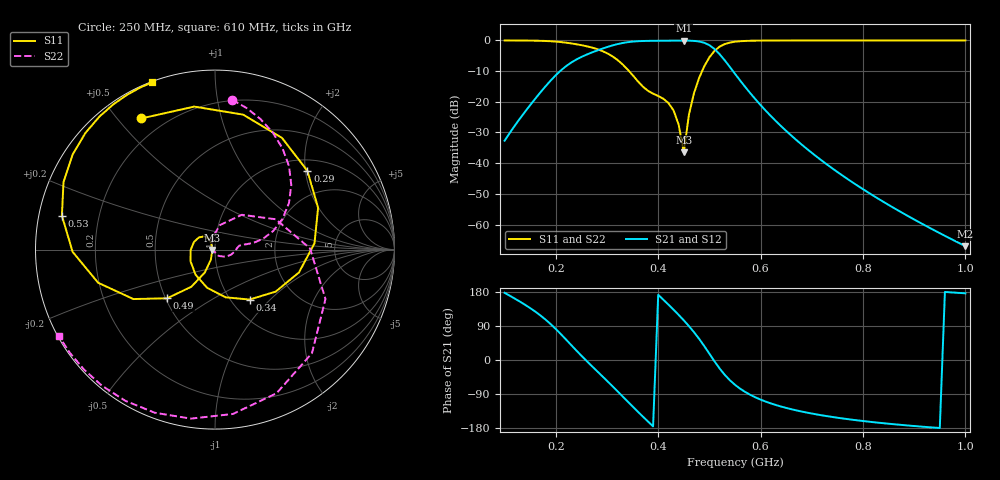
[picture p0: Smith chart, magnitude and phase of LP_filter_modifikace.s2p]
! AWR Design Environment (18666) Thu Aug 13 12:31:06 2026
! Document = 'LP filter modifikace'
! nPorts: 2, nXvals: 91
# MHz S DB R 50
!Freq DBS11 AngS11 DBS21 AngS21 DBS12 AngS12 DBS22 AngS22
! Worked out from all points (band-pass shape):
!   91 points, 100 MHz to 1 GHz, reference 50 ohm
!   highest |S21| = -0.05 dB at 450 MHz (marker M1); lowest = -67.1 dB at 1 GHz (marker M2)
!   |S21| within 3 dB of the highest: 284.4 MHz to 511.5 MHz (227.1 MHz wide, 57.1 % of centre)
!   lowest |S11| = -36.5 dB at 450 MHz (marker M3), VSWR 1.03, Z = 48.5 - j0.252 ohm
!   |S11| at or under -10 dB: 343.1 MHz to 485.8 MHz (142.7 MHz wide, 34.4 % of centre)
!   |S22| runs from -37.9 to 0.0 dB; largest |S21 - S12| = 0
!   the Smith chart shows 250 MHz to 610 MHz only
!   S11 on the Smith chart (normalised r, x): 250 MHz: 0.12, +0.58; 290 MHz: 1.27, +2.05; 340 MHz: 1.21, -0.76; 490 MHz: 0.51, -0.32; 530 MHz: 0.07, +0.11; 610 MHz: 0.00, +0.69
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100  -0.01 24.7  -32.69 177.3  -32.69 177.3  -0.00 150.1
140  -0.04 -24.8  -23.22 145.7  -23.22 145.7  -0.02 136.4
180  -0.17 -86.7  -14.94 106.5  -14.94 106.5  -0.14 120.0
200  -0.37 -126.8  -11.32 81.8  -11.32 81.8  -0.34 110.5
220  -0.72 -172.2  -8.38 53.9  -8.38 53.9  -0.69 100.2
250  -1.53 119.3  -5.38 11.3  -5.38 11.3  -1.50 83.5
290  -3.39 40.4  -2.72 -41.8  -2.72 -41.8  -3.37 56.3
310  -5.11 3.6  -1.65 -68.3  -1.65 -68.3  -5.08 40.3
340  -9.41 -55.3  -0.57 -109.1  -0.57 -109.1  -9.35 17.7
370  -15.04 -127.8  -0.18 -149.3  -0.18 -149.3  -14.94 9.7
400  -18.10 159.7  -0.11 172.0  -0.11 172.0  -18.07 4.6
430  -22.79 120.9  -0.07 132.8  -0.07 132.8  -22.92 -34.3
450  -36.50 -170.0  -0.05 104.6  -0.05 104.6  -37.91 -166.6
460  -24.20 -112.2  -0.07 89.5  -0.07 89.5  -24.21 108.1
490  -8.40 -134.5  -0.76 36.6  -0.76 36.6  -8.44 26.5
510  -3.39 -164.2  -2.79 -3.6  -2.79 -3.6  -3.42 -24.1
530  -1.17 167.5  -6.49 -39.2  -6.49 -39.2  -1.20 -66.8
550  -0.41 146.3  -10.87 -65.5  -10.87 -65.5  -0.43 -98.1
610  -0.04 110.6  -22.89 -109.8  -22.89 -109.8  -0.05 -150.9
700  -0.01 85.1  -36.63 -141.3  -36.63 -141.3  -0.02 171.7
850  -0.00 63.7  -53.61 -168.2  -53.61 -168.2  -0.01 139.4
1000  -0.00 51.6  -67.06 176.0  -67.06 176.0  -0.00 119.7
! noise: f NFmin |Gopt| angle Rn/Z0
100  0.06097  0.8911  -26.16  0.1157
200  0.04111  0.4483  107.5  0.005514
300  0.03098  0.3281  -67.92  0.005413
400  0.03899  0.04869  166.2  0.004085
500  0.07892  0.4376  -178.6  0.003558
600  0.2545  0.9404  -114  0.2835
700  0.6695  0.9904  -85.07  8.75
800  1.486  0.9977  -69.3  100.7
900  2.952  0.9993  -59.02  742.2
1000  5.353  0.9997  -51.63  4258
